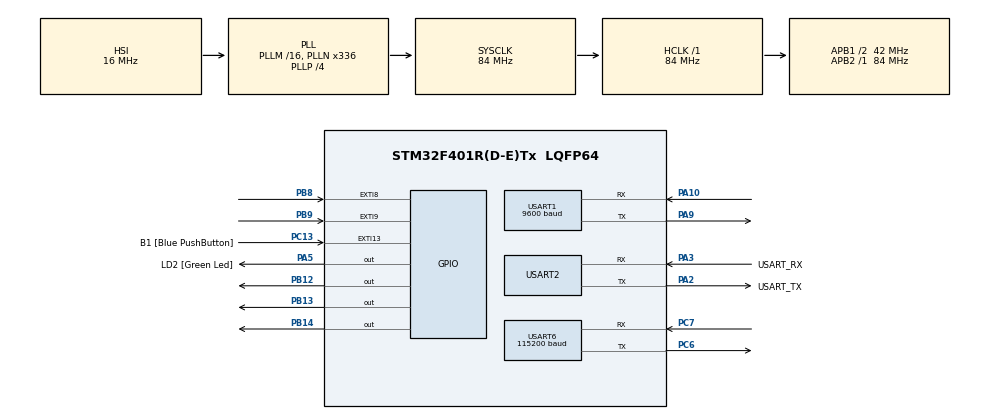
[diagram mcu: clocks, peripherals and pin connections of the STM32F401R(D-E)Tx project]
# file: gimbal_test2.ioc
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Dma.Request0=USART6_RX
Dma.Request1=USART6_TX
Dma.Request2=USART1_RX
Dma.Request3=USART1_TX
Dma.USART1_RX.2.Direction=DMA_PERIPH_TO_MEMORY
Dma.USART1_RX.2.FIFOMode=DMA_FIFOMODE_DISABLE
Dma.USART1_RX.2.Instance=DMA2_Stream2
Dma.USART1_RX.2.MemDataAlignment=DMA_MDATAALIGN_BYTE
Dma.USART1_RX.2.MemInc=DMA_MINC_ENABLE
Dma.USART1_RX.2.Mode=DMA_NORMAL
Dma.USART1_RX.2.PeriphDataAlignment=DMA_PDATAALIGN_BYTE
Dma.USART1_RX.2.PeriphInc=DMA_PINC_DISABLE
Dma.USART1_RX.2.Priority=DMA_PRIORITY_LOW
Dma.USART1_TX.3.Direction=DMA_MEMORY_TO_PERIPH
Dma.USART1_TX.3.FIFOMode=DMA_FIFOMODE_DISABLE
Dma.USART1_TX.3.Instance=DMA2_Stream7
Dma.USART1_TX.3.MemDataAlignment=DMA_MDATAALIGN_BYTE
Dma.USART1_TX.3.MemInc=DMA_MINC_ENABLE
Dma.USART1_TX.3.Mode=DMA_NORMAL
Dma.USART1_TX.3.PeriphDataAlignment=DMA_PDATAALIGN_BYTE
Dma.USART1_TX.3.PeriphInc=DMA_PINC_DISABLE
Dma.USART1_TX.3.Priority=DMA_PRIORITY_LOW
Dma.USART6_RX.0.Direction=DMA_PERIPH_TO_MEMORY
Dma.USART6_RX.0.FIFOMode=DMA_FIFOMODE_DISABLE
Dma.USART6_RX.0.Instance=DMA2_Stream1
Dma.USART6_RX.0.MemDataAlignment=DMA_MDATAALIGN_BYTE
Dma.USART6_RX.0.MemInc=DMA_MINC_ENABLE
Dma.USART6_RX.0.Mode=DMA_NORMAL
Dma.USART6_RX.0.PeriphDataAlignment=DMA_PDATAALIGN_BYTE
Dma.USART6_RX.0.PeriphInc=DMA_PINC_DISABLE
Dma.USART6_RX.0.Priority=DMA_PRIORITY_LOW
Dma.USART6_TX.1.Direction=DMA_MEMORY_TO_PERIPH
Dma.USART6_TX.1.FIFOMode=DMA_FIFOMODE_DISABLE
Dma.USART6_TX.1.Instance=DMA2_Stream6
Dma.USART6_TX.1.MemDataAlignment=DMA_MDATAALIGN_BYTE
Dma.USART6_TX.1.MemInc=DMA_MINC_ENABLE
Dma.USART6_TX.1.Mode=DMA_NORMAL
Dma.USART6_TX.1.PeriphDataAlignment=DMA_PDATAALIGN_BYTE
Dma.USART6_TX.1.PeriphInc=DMA_PINC_DISABLE
Dma.USART6_TX.1.Priority=DMA_PRIORITY_LOW
Mcu.Family=STM32F4
Mcu.Name=STM32F401R(D-E)Tx
Mcu.Package=LQFP64
NVIC.DMA2_Stream1_IRQn=true\:0\:0\:false\:false\:true\:false
NVIC.DMA2_Stream2_IRQn=true\:0\:0\:false\:false\:true\:false
NVIC.DMA2_Stream6_IRQn=true\:0\:0\:false\:false\:true\:false
NVIC.DMA2_Stream7_IRQn=true\:0\:0\:false\:false\:true\:false
NVIC.EXTI15_10_IRQn=true\:0\:0\:false\:false\:true\:true
NVIC.EXTI9_5_IRQn=true\:0\:0\:false\:false\:true\:true
NVIC.PriorityGroup=NVIC_PRIORITYGROUP_0
NVIC.TIM1_BRK_TIM9_IRQn=true\:0\:0\:false\:false\:true\:true
NVIC.USART1_IRQn=true\:0\:0\:false\:false\:true\:true
NVIC.USART6_IRQn=true\:0\:0\:false\:false\:true\:true
PA10.Mode=Asynchronous
PA10.Signal=USART1_RX
PA13.GPIO_Label=TMS
PA13.Mode=Serial_Wire
PA13.Signal=SYS_JTMS-SWDIO
PA14.GPIO_Label=TCK
PA14.Mode=Serial_Wire
PA14.Signal=SYS_JTCK-SWCLK
PA15.Signal=S_TIM2_CH1_ETR
PA2.GPIO_Label=USART_TX
PA2.GPIO_Mode=GPIO_MODE_AF_PP
PA2.GPIO_PuPd=GPIO_NOPULL
PA2.GPIO_Speed=GPIO_SPEED_FREQ_LOW
PA2.Mode=Asynchronous
PA2.Signal=USART2_TX
PA3.GPIO_Label=USART_RX
PA3.GPIO_Mode=GPIO_MODE_AF_PP
PA3.GPIO_PuPd=GPIO_NOPULL
PA3.GPIO_Speed=GPIO_SPEED_FREQ_LOW
PA3.Mode=Asynchronous
PA3.Signal=USART2_RX
PA5.GPIO_Label=LD2 [Green Led]
PA5.GPIO_Mode=GPIO_MODE_OUTPUT_PP
PA5.GPIO_PuPd=GPIO_NOPULL
PA5.GPIO_Speed=GPIO_SPEED_FREQ_LOW
PA5.Signal=GPIO_Output
PA9.Mode=Asynchronous
PA9.Signal=USART1_TX
PB12.Signal=GPIO_Output
PB13.Signal=GPIO_Output
PB14.Signal=GPIO_Output
PB3.GPIO_Label=SWO
PB3.Signal=SYS_JTDO-SWO
PB8.GPIO_ModeDefaultEXTI=GPIO_MODE_IT_FALLING
PB8.Signal=GPXTI8
PB9.GPIO_ModeDefaultEXTI=GPIO_MODE_IT_FALLING
PB9.Signal=GPXTI9
PC13-ANTI_TAMP.GPIO_Label=B1 [Blue PushButton]
PC13-ANTI_TAMP.GPIO_ModeDefaultEXTI=GPIO_MODE_IT_FALLING
PC13-ANTI_TAMP.GPIO_PuPd=GPIO_NOPULL
PC13-ANTI_TAMP.Signal=GPXTI13
PC14-OSC32_IN.Mode=LSE-External-Oscillator
PC14-OSC32_IN.Signal=RCC_OSC32_IN
PC15-OSC32_OUT.Mode=LSE-External-Oscillator
PC15-OSC32_OUT.Signal=RCC_OSC32_OUT
PC6.Mode=Asynchronous
PC6.Signal=USART6_TX
PC7.Mode=Asynchronous
PC7.Signal=USART6_RX
PH0\ -\ OSC_IN.Mode=HSE-External-Clock-Source
PH0\ -\ OSC_IN.Signal=RCC_OSC_IN
PH1\ -\ OSC_OUT.Mode=HSE-External-Clock-Source
PH1\ -\ OSC_OUT.Signal=RCC_OSC_OUT
ProjectManager.HeapSize=0x200
ProjectManager.StackSize=0x400
ProjectManager.TargetToolchain=EWARM
RCC.48MHZClocksFreq_Value=48000000
RCC.AHBFreq_Value=84000000
RCC.APB1CLKDivider=RCC_HCLK_DIV2
RCC.APB1Freq_Value=42000000
RCC.APB1TimFreq_Value=84000000
RCC.APB2Freq_Value=84000000
RCC.APB2TimFreq_Value=84000000
RCC.CortexFreq_Value=84000000
RCC.HCLKFreq_Value=84000000
RCC.HSE_VALUE=8000000
RCC.HSI_VALUE=16000000
RCC.PLLN=336
RCC.PLLP=RCC_PLLP_DIV4
RCC.PLLQ=7
RCC.SYSCLKFreq_VALUE=84000000
RCC.SYSCLKSource=RCC_SYSCLKSOURCE_PLLCLK
RCC.VCOOutputFreq_Value=336000000
SH.S_TIM2_CH1_ETR.0=TIM2_CH1
TIM9.Period=100-1
TIM9.Prescaler=839
USART1.BaudRate=9600
USART1.VirtualMode=VM_ASYNC
USART2.VirtualMode=VM_ASYNC
USART6.BaudRate=115200
USART6.VirtualMode=VM_ASYNC
VP_TIM9_VS_ClockSourceINT.Mode=Internal
board=NUCLEO-F401RE

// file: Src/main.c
/**
  ******************************************************************************
  * @file           : main.c
  * @brief          : Main program body
  ******************************************************************************
  ** This notice applies to any and all portions of this file
  * that are not between comment pairs USER CODE BEGIN and
  * USER CODE END. Other portions of this file, whether
  * inserted by the user or by software development tools
  * are owned by their respective copyright owners.
  *
  * COPYRIGHT(c) 2020 STMicroelectronics
  *
  * Redistribution and use in source and binary forms, with or without modification,
  * are permitted provided that the following conditions are met:
  *   1. Redistributions of source code must retain the above copyright notice,
  *      this list of conditions and the following disclaimer.
  *   2. Redistributions in binary form must reproduce the above copyright notice,
  *      this list of conditions and the following disclaimer in the documentation
  *      and/or other materials provided with the distribution.
  *   3. Neither the name of STMicroelectronics nor the names of its contributors
  *      may be used to endorse or promote products derived from this software
  *      without specific prior written permission.
  *
  * THIS SOFTWARE IS PROVIDED BY THE COPYRIGHT HOLDERS AND CONTRIBUTORS "AS IS"
  * AND ANY EXPRESS OR IMPLIED WARRANTIES, INCLUDING, BUT NOT LIMITED TO, THE
  * IMPLIED WARRANTIES OF MERCHANTABILITY AND FITNESS FOR A PARTICULAR PURPOSE ARE
  * DISCLAIMED. IN NO EVENT SHALL THE COPYRIGHT HOLDER OR CONTRIBUTORS BE LIABLE
  * FOR ANY DIRECT, INDIRECT, INCIDENTAL, SPECIAL, EXEMPLARY, OR CONSEQUENTIAL
  * DAMAGES (INCLUDING, BUT NOT LIMITED TO, PROCUREMENT OF SUBSTITUTE GOODS OR
  * SERVICES; LOSS OF USE, DATA, OR PROFITS; OR BUSINESS INTERRUPTION) HOWEVER
  * CAUSED AND ON ANY THEORY OF LIABILITY, WHETHER IN CONTRACT, STRICT LIABILITY,
  * OR TORT (INCLUDING NEGLIGENCE OR OTHERWISE) ARISING IN ANY WAY OUT OF THE USE
  * OF THIS SOFTWARE, EVEN IF ADVISED OF THE POSSIBILITY OF SUCH DAMAGE.
  *
  ******************************************************************************
  */
#include "main.h"
#include "stm32f4xx_hal.h"

/* USER CODE BEGIN Includes */
#include "math.h"
#include "string.h"
#include "stdlib.h"
#include "stdio.h"
#include "stdint.h"
#include <string.h>
#define PI 3.141592
#define RX_BUFFER_SIZE 25
/* USER CODE END Includes */

TIM_HandleTypeDef htim9;

UART_HandleTypeDef huart1;
UART_HandleTypeDef huart2;
UART_HandleTypeDef huart6;
DMA_HandleTypeDef hdma_usart1_rx;
DMA_HandleTypeDef hdma_usart1_tx;
DMA_HandleTypeDef hdma_usart6_rx;
DMA_HandleTypeDef hdma_usart6_tx;

/* USER CODE BEGIN PV */
/* Private variables ---------------------------------------------------------*/

int cnt;

int Pin_State;

double euler[3];
int ieuler[3];

int cnt2;
int com1, com2, com3, com4, fin;
uint8_t rx_buffer[RX_BUFFER_SIZE];
uint8_t tx_buffer[];
uint8_t tx_len;
double pitch, roll, yaw;
int ipitch, iroll, iyaw, icheck;
char A_roll[7], A_pitch[7], A_yaw[7], check[7];
char SOP[] = "100-0";
double R[3][3];
double alpha, beta, gamma;
double radian = PI/180;
int ialpha, ibeta, igamma;
/* USER CODE END PV */

void SystemClock_Config(void);
static void MX_GPIO_Init(void);
static void MX_DMA_Init(void);
static void MX_USART2_UART_Init(void);
static void MX_TIM9_Init(void);
static void MX_USART6_UART_Init(void);
static void MX_USART1_UART_Init(void);

/* USER CODE BEGIN PFP */
/* Private function prototypes -----------------------------------------------*/

void Angle()
{
  HAL_UART_Receive_DMA(&huart1, rx_buffer, RX_BUFFER_SIZE);
  if(rx_buffer[0] != '*')
  {
    for(int i = 0; i <= (RX_BUFFER_SIZE - 1); i++)
      rx_buffer[i] = 0;
  }
  for(int i = 0; i <= (RX_BUFFER_SIZE - 1); i++)
  {
    if(rx_buffer[i] == '*'){cnt2++;}
    if((rx_buffer[i] == ',')&&(com1==0)) com1 = i;
    if((rx_buffer[i] == ',')&&(com1!= i)&&(com2==0)) com2 = i;
    if((rx_buffer[i] == '\n')&&(com1!= i)&&(com2!= i)&&(com3==0)) com3 = i;
    //if(rx_buffer[i]=='\n'){cnt2++; fin = i;}
  }
  for(int i = 1; i < com1 ; i++)
    A_roll[i-1] = rx_buffer[i];
  roll = atof(A_roll);
  iroll = atoi(A_roll);
  for(int i = (com1+1); i < com2; i++)
    A_pitch[i - (com1 + 1)] = rx_buffer[i];
  pitch = atof(A_pitch);
  ipitch = atoi(A_pitch);
  for(int i = (com2+1); i < com3; i++)
    A_yaw[i - (com2 + 1)] = rx_buffer[i];
  yaw = atof(A_yaw);
  iyaw = atoi(A_yaw);
  cnt2 = 0; com1 = 0; com2 = 0; com3 = 0; fin = 0;

}

void EulerRotation(double angleX, double angleY, double angleZ)
{
  alpha = angleX*(cos(yaw*radian)*cos(pitch*radian))
    + angleY*(cos(yaw*radian)*sin(pitch*radian)*sin(roll*radian)-sin(yaw*radian)*cos(roll*radian))
      + angleZ*(cos(yaw*radian)*sin(pitch*radian)*cos(roll*radian)+sin(yaw*radian)*sin(roll*radian));

  beta = angleX*(sin(yaw*radian)*cos(pitch*radian))
    + angleY*(sin(yaw*radian)*sin(pitch*radian)*sin(roll*radian)+cos(yaw*radian)*cos(roll*radian))
      + angleZ*(sin(yaw*radian)*sin(pitch*radian)*cos(roll*radian)-cos(yaw*radian)*sin(roll*radian));

  gamma = angleX*(-sin(pitch*radian))
    + angleY*(cos(pitch*radian)*sin(roll*radian))
      + angleZ*(cos(pitch*radian)*cos(roll*radian));
  alpha = alpha - 0.1*alpha;
  beta = beta - 0.1*beta;
  gamma = gamma - 0.1*gamma;
  ialpha = (int)alpha;
  ibeta = (int)beta;
  igamma = (int)gamma;
}

void Quaternion(double angleX, double angleY, double angleZ)
{
  double q0 = cos(roll/2)*cos(pitch/2)*cos(yaw/2) + sin(roll/2)*sin(pitch/2)*sin(yaw/2);
  double q1 = sin(roll/2)*cos(pitch/2)*cos(yaw/2) - cos(roll/2)*sin(pitch/2)*sin(yaw/2);
  double q2 = cos(roll/2)*sin(pitch/2)*cos(yaw/2) + sin(roll/2)*cos(pitch/2)*sin(yaw/2);
  double q3 = cos(roll/2)*cos(pitch/2)*sin(yaw/2) + sin(roll/2)*sin(pitch/2)*cos(yaw/2);

  double Ra[3][3] = {{2*(pow(q0,2)+pow(q1,2)-0.5), 2*(q1*q3-q0*q2), 2*(q0*q2+q1*q3)},
  {2*(q1*q3+q0*q2),2*(pow(q0,2)+pow(q2,2)-0.5),2*(q0*q2-q1*q3)},
  {2*(q1*q3-q0*q2),2*(q0*q2+q1*q3),2*(pow(q0,2)+pow(q3,2)-0.5)}};

  alpha = angleX*Ra[0][0] + angleY*Ra[0][1] + angleZ*Ra[0][2];
  beta = angleX*Ra[1][0] + angleY*Ra[1][1] + angleZ*Ra[1][2];
  gamma = angleX*Ra[2][0] + angleY*Ra[2][1] + angleZ*Ra[2][2];

  ialpha = (int)alpha;
  ibeta = (int)beta;
  igamma = (int)gamma;
}

unsigned short update_crc(unsigned short crc_accum, unsigned char *data_blk_ptr, unsigned short data_blk_size)
{
  unsigned short i, j;
  unsigned short crc_table[256] = {
    0x0000, 0x8005, 0x800F, 0x000A, 0x801B, 0x001E, 0x0014, 0x8011,
    0x8033, 0x0036, 0x003C, 0x8039, 0x0028, 0x802D, 0x8027, 0x0022,
    0x8063, 0x0066, 0x006C, 0x8069, 0x0078, 0x807D, 0x8077, 0x0072,
    0x0050, 0x8055, 0x805F, 0x005A, 0x804B, 0x004E, 0x0044, 0x8041,
    0x80C3, 0x00C6, 0x00CC, 0x80C9, 0x00D8, 0x80DD, 0x80D7, 0x00D2,
    0x00F0, 0x80F5, 0x80FF, 0x00FA, 0x80EB, 0x00EE, 0x00E4, 0x80E1,
    0x00A0, 0x80A5, 0x80AF, 0x00AA, 0x80BB, 0x00BE, 0x00B4, 0x80B1,
    0x8093, 0x0096, 0x009C, 0x8099, 0x0088, 0x808D, 0x8087, 0x0082,
    0x8183, 0x0186, 0x018C, 0x8189, 0x0198, 0x819D, 0x8197, 0x0192,
    0x01B0, 0x81B5, 0x81BF, 0x01BA, 0x81AB, 0x01AE, 0x01A4, 0x81A1,
    0x01E0, 0x81E5, 0x81EF, 0x01EA, 0x81FB, 0x01FE, 0x01F4, 0x81F1,
    0x81D3, 0x01D6, 0x01DC, 0x81D9, 0x01C8, 0x81CD, 0x81C7, 0x01C2,
    0x0140, 0x8145, 0x814F, 0x014A, 0x815B, 0x015E, 0x0154, 0x8151,
    0x8173, 0x0176, 0x017C, 0x8179, 0x0168, 0x816D, 0x8167, 0x0162,
    0x8123, 0x0126, 0x012C, 0x8129, 0x0138, 0x813D, 0x8137, 0x0132,
    0x0110, 0x8115, 0x811F, 0x011A, 0x810B, 0x010E, 0x0104, 0x8101,
    0x8303, 0x0306, 0x030C, 0x8309, 0x0318, 0x831D, 0x8317, 0x0312,
    0x0330, 0x8335, 0x833F, 0x033A, 0x832B, 0x032E, 0x0324, 0x8321,
    0x0360, 0x8365, 0x836F, 0x036A, 0x837B, 0x037E, 0x0374, 0x8371,
    0x8353, 0x0356, 0x035C, 0x8359, 0x0348, 0x834D, 0x8347, 0x0342,
    0x03C0, 0x83C5, 0x83CF, 0x03CA, 0x83DB, 0x03DE, 0x03D4, 0x83D1,
    0x83F3, 0x03F6, 0x03FC, 0x83F9, 0x03E8, 0x83ED, 0x83E7, 0x03E2,
    0x83A3, 0x03A6, 0x03AC, 0x83A9, 0x03B8, 0x83BD, 0x83B7, 0x03B2,
    0x0390, 0x8395, 0x839F, 0x039A, 0x838B, 0x038E, 0x0384, 0x8381,
    0x0280, 0x8285, 0x828F, 0x028A, 0x829B, 0x029E, 0x0294, 0x8291,
    0x82B3, 0x02B6, 0x02BC, 0x82B9, 0x02A8, 0x82AD, 0x82A7, 0x02A2,
    0x82E3, 0x02E6, 0x02EC, 0x82E9, 0x02F8, 0x82FD, 0x82F7, 0x02F2,
    0x02D0, 0x82D5, 0x82DF, 0x02DA, 0x82CB, 0x02CE, 0x02C4, 0x82C1,
    0x8243, 0x0246, 0x024C, 0x8249, 0x0258, 0x825D, 0x8257, 0x0252,
    0x0270, 0x8275, 0x827F, 0x027A, 0x826B, 0x026E, 0x0264, 0x8261,
    0x0220, 0x8225, 0x822F, 0x022A, 0x823B, 0x023E, 0x0234, 0x8231,
    0x8213, 0x0216, 0x021C, 0x8219, 0x0208, 0x820D, 0x8207, 0x0202
  };

  for(j = 0; j < data_blk_size; j++)
  {
    i = ((unsigned short)(crc_accum >> 8) ^ data_blk_ptr[j]) & 0xFF;
    crc_accum = (crc_accum << 8) ^ crc_table[i];
  }

  return crc_accum;
}

void TorqueEnable(unsigned char ID , unsigned char OnOff)
{
  unsigned char Header1 = 0xff;
  unsigned char Header2 = 0xff;
  unsigned char Header3 = 0xfd;
  unsigned char Reserved = 0x00;

  //	unsigned char ID = 0x02;
  unsigned char PacketLengthL = 0x09;			//총 길이: 9 /(parameter 6개  + 3개(기타) )
  unsigned char PacketLengthH = 0x00;
  unsigned char Instruction = 0x03;			//Write mode

  unsigned char Parameter_1= 0x40 ;	 		//0x40 은 torque enable
  unsigned char Parameter_2= 0x00 ;			// Data를 쓰고자 하는 곳의 시작 Address(상위바이트)

  unsigned char Parameter3 = OnOff;		        //on 은 1 , off 는 0
  unsigned char Parameter4 = 0x00;
  unsigned char Parameter5 = 0x00;
  unsigned char Parameter6 = 0x00;

  //crc 를 구하기 위한 수식
  unsigned short Packet_Length = (PacketLengthH << 8) + PacketLengthL;
  unsigned short DataBlkSize = 5 + Packet_Length ;
  unsigned char CRC_L = 0;
  unsigned char CRC_H = 0;
  unsigned short CRC_A = 0;

  unsigned char TxPacket[] = { Header1, Header2, Header3, Reserved, ID, PacketLengthL, PacketLengthH, Instruction, Parameter_1,
  Parameter_2, Parameter3, Parameter4, Parameter5, Parameter6, CRC_L, CRC_H };

  CRC_A = update_crc(0, TxPacket , DataBlkSize);   // 12 = 5 + Packet Length(7)
  CRC_L = (CRC_A & 0x00FF);               //Little-endian
  CRC_H = (CRC_A>>8) & 0x00FF;
  tx_len = 0;
  tx_len = sizeof(TxPacket);
  TxPacket[tx_len-1] = CRC_H;
  TxPacket[tx_len-2] = CRC_L;

  HAL_UART_Transmit(&huart6, (uint8_t *)TxPacket, tx_len, HAL_MAX_DELAY);
}

void SyncWrite(unsigned int GoalPos1 , unsigned int GoalPos2 , unsigned int GoalPos3)
{
  unsigned char Header1 = 0xff;
  unsigned char Header2 = 0xff;
  unsigned char Header3 = 0xfd;
  unsigned char Reserved = 0x00;

  unsigned char ID = 0xFE;
  unsigned char PacketLengthL = 0x16;			//총 길이: 22 /(parameter 19개  + 3개(기타) )
  unsigned char PacketLengthH = 0x00;
  unsigned char Instruction = 0x83;			//Sync Write mode

  unsigned char Parameter_1 = 0x74;	 		//Data Address (0x74 : Goal Position)
  unsigned char Parameter_2 = 0x00;			//Address(상위바이트)

  unsigned char Parameter3 = 0x04;			//Data Length
  unsigned char Parameter4 = 0x00;

  unsigned char Parameter5 = 0x03;			//1st ID yaw
  unsigned char Parameter6 = (GoalPos1 & 0xff);
  unsigned char Parameter7 = ((GoalPos1>>8) & 0xff);
  unsigned char Parameter8 = ((GoalPos1>>16) & 0xff);
  unsigned char Parameter9 = ((GoalPos1>>24) & 0xff);

  unsigned char Parameter10 = 0x02;			//2nd ID pitch
  unsigned char Parameter11 = (GoalPos2 & 0xff);
  unsigned char Parameter12 = ((GoalPos2>>8) & 0xff);
  unsigned char Parameter13 = ((GoalPos2>>16) & 0xff);
  unsigned char Parameter14 = ((GoalPos2>>24) & 0xff);

  unsigned char Parameter15 = 0x01;			//3rd ID roll
  unsigned char Parameter16 = (GoalPos3 & 0xff);
  unsigned char Parameter17 = ((GoalPos3>>8) & 0xff);
  unsigned char Parameter18 = ((GoalPos3>>16) & 0xff);
  unsigned char Parameter19 = ((GoalPos3>>24) & 0xff);

  //crc 를 구하기 위한 수식
  unsigned short Packet_Length = (PacketLengthH << 8) + PacketLengthL;
  unsigned short DataBlkSize = 5 + Packet_Length;
  unsigned char CRC_L = 0;
  unsigned char CRC_H = 0;
  unsigned short CRC_A = 0;

  unsigned char TxPacket[] = { Header1, Header2, Header3, Reserved, ID, PacketLengthL, PacketLengthH, Instruction, Parameter_1,
  Parameter_2, Parameter3, Parameter4, Parameter5, Parameter6, Parameter7, Parameter8, Parameter9, Parameter10, Parameter11,
  Parameter12, Parameter13, Parameter14, Parameter15, Parameter16, Parameter17, Parameter18, Parameter19, CRC_L, CRC_H };

  CRC_A = update_crc(0, TxPacket, DataBlkSize);   // 12 = 5 + Packet Length(7)
  CRC_L = (CRC_A & 0x00FF);               //Little-endian
  CRC_H = (CRC_A >> 8) & 0x00FF;
  tx_len = 0;
  tx_len = sizeof(TxPacket);
  TxPacket[tx_len-1] = CRC_H;
  TxPacket[tx_len-2] = CRC_L;

  HAL_UART_Transmit(&huart6, (uint8_t *)TxPacket, tx_len, HAL_MAX_DELAY);
}

unsigned int AngleXL(signed int A)
{
  double B = 2048 - A*(1024/90);

  return (unsigned int)B;
}

void HAL_TIM_PeriodElapsedCallback(TIM_HandleTypeDef *htim)
{
  if(htim == &htim9)
  {
    cnt++;

    if(cnt == 40)
    {
      HAL_UART_Transmit(&huart1, "*", 1, HAL_MAX_DELAY);
      Angle();
      EulerRotation(roll, pitch, yaw);
      //Quaternion(iroll, ipitch, iyaw);
      SyncWrite(AngleXL(-(int)alpha),AngleXL((int)beta),AngleXL(-(int)gamma));
      cnt = 0;

    }
  }
}

/* USER CODE END PFP */

int main(void)
{

  /* MCU Configuration----------------------------------------------------------*/

  /* Reset of all peripherals, Initializes the Flash interface and the Systick. */
  HAL_Init();

  /* Configure the system clock */
  SystemClock_Config();

  /* Initialize all configured peripherals */
  MX_GPIO_Init();
  MX_DMA_Init();
  MX_USART2_UART_Init();
  MX_TIM9_Init();
  MX_USART6_UART_Init();
  MX_USART1_UART_Init();
  /* USER CODE BEGIN 2 */
  HAL_TIM_Base_Start_IT(&htim9);

  TorqueEnable(0x01, 0x01);
  HAL_Delay(5);
  TorqueEnable(0x02, 0x01);
  HAL_Delay(5);
  TorqueEnable(0x03, 0x01);
  HAL_Delay(5);
  /* USER CODE END 2 */

  /* Infinite loop */
  while (1)
  {

  }

}

void SystemClock_Config(void)
{

  RCC_OscInitTypeDef RCC_OscInitStruct;
  RCC_ClkInitTypeDef RCC_ClkInitStruct;

    /**Configure the main internal regulator output voltage
    */
  __HAL_RCC_PWR_CLK_ENABLE();

  __HAL_PWR_VOLTAGESCALING_CONFIG(PWR_REGULATOR_VOLTAGE_SCALE2);

    /**Initializes the CPU, AHB and APB busses clocks
    */
  RCC_OscInitStruct.OscillatorType = RCC_OSCILLATORTYPE_HSI;
  RCC_OscInitStruct.HSIState = RCC_HSI_ON;
  RCC_OscInitStruct.HSICalibrationValue = 16;
  RCC_OscInitStruct.PLL.PLLState = RCC_PLL_ON;
  RCC_OscInitStruct.PLL.PLLSource = RCC_PLLSOURCE_HSI;
  RCC_OscInitStruct.PLL.PLLM = 16;
  RCC_OscInitStruct.PLL.PLLN = 336;
  RCC_OscInitStruct.PLL.PLLP = RCC_PLLP_DIV4;
  RCC_OscInitStruct.PLL.PLLQ = 7;
  if (HAL_RCC_OscConfig(&RCC_OscInitStruct) != HAL_OK)
  {
    _Error_Handler(__FILE__, __LINE__);
  }

    /**Initializes the CPU, AHB and APB busses clocks
    */
  RCC_ClkInitStruct.ClockType = RCC_CLOCKTYPE_HCLK|RCC_CLOCKTYPE_SYSCLK
                              |RCC_CLOCKTYPE_PCLK1|RCC_CLOCKTYPE_PCLK2;
  RCC_ClkInitStruct.SYSCLKSource = RCC_SYSCLKSOURCE_PLLCLK;
  RCC_ClkInitStruct.AHBCLKDivider = RCC_SYSCLK_DIV1;
  RCC_ClkInitStruct.APB1CLKDivider = RCC_HCLK_DIV2;
  RCC_ClkInitStruct.APB2CLKDivider = RCC_HCLK_DIV1;

  if (HAL_RCC_ClockConfig(&RCC_ClkInitStruct, FLASH_LATENCY_2) != HAL_OK)
  {
    _Error_Handler(__FILE__, __LINE__);
  }

    /**Configure the Systick interrupt time
    */
  HAL_SYSTICK_Config(HAL_RCC_GetHCLKFreq()/1000);

    /**Configure the Systick
    */
  HAL_SYSTICK_CLKSourceConfig(SYSTICK_CLKSOURCE_HCLK);

  /* SysTick_IRQn interrupt configuration */
  HAL_NVIC_SetPriority(SysTick_IRQn, 0, 0);
}

/* TIM9 init function */
static void MX_TIM9_Init(void)
{

  TIM_ClockConfigTypeDef sClockSourceConfig;

  htim9.Instance = TIM9;
  htim9.Init.Prescaler = 839;
  htim9.Init.CounterMode = TIM_COUNTERMODE_UP;
  htim9.Init.Period = 100-1;
  htim9.Init.ClockDivision = TIM_CLOCKDIVISION_DIV1;
  if (HAL_TIM_Base_Init(&htim9) != HAL_OK)
  {
    _Error_Handler(__FILE__, __LINE__);
  }

  sClockSourceConfig.ClockSource = TIM_CLOCKSOURCE_INTERNAL;
  if (HAL_TIM_ConfigClockSource(&htim9, &sClockSourceConfig) != HAL_OK)
  {
    _Error_Handler(__FILE__, __LINE__);
  }

}

/* USART1 init function */
static void MX_USART1_UART_Init(void)
{

  huart1.Instance = USART1;
  huart1.Init.BaudRate = 9600;
  huart1.Init.WordLength = UART_WORDLENGTH_8B;
  huart1.Init.StopBits = UART_STOPBITS_1;
  huart1.Init.Parity = UART_PARITY_NONE;
  huart1.Init.Mode = UART_MODE_TX_RX;
  huart1.Init.HwFlowCtl = UART_HWCONTROL_NONE;
  huart1.Init.OverSampling = UART_OVERSAMPLING_16;
  if (HAL_UART_Init(&huart1) != HAL_OK)
  {
    _Error_Handler(__FILE__, __LINE__);
  }

}

/* USART2 init function */
static void MX_USART2_UART_Init(void)
{

  huart2.Instance = USART2;
  huart2.Init.BaudRate = 115200;
  huart2.Init.WordLength = UART_WORDLENGTH_8B;
  huart2.Init.StopBits = UART_STOPBITS_1;
  huart2.Init.Parity = UART_PARITY_NONE;
  huart2.Init.Mode = UART_MODE_TX_RX;
  huart2.Init.HwFlowCtl = UART_HWCONTROL_NONE;
  huart2.Init.OverSampling = UART_OVERSAMPLING_16;
  if (HAL_UART_Init(&huart2) != HAL_OK)
  {
    _Error_Handler(__FILE__, __LINE__);
  }

}

/* USART6 init function */
static void MX_USART6_UART_Init(void)
{

  huart6.Instance = USART6;
  huart6.Init.BaudRate = 115200;
  huart6.Init.WordLength = UART_WORDLENGTH_8B;
  huart6.Init.StopBits = UART_STOPBITS_1;
  huart6.Init.Parity = UART_PARITY_NONE;
  huart6.Init.Mode = UART_MODE_TX_RX;
  huart6.Init.HwFlowCtl = UART_HWCONTROL_NONE;
  huart6.Init.OverSampling = UART_OVERSAMPLING_16;
  if (HAL_UART_Init(&huart6) != HAL_OK)
  {
    _Error_Handler(__FILE__, __LINE__);
  }

}

static void MX_DMA_Init(void)
{
  /* DMA controller clock enable */
  __HAL_RCC_DMA2_CLK_ENABLE();

  /* DMA interrupt init */
  /* DMA2_Stream1_IRQn interrupt configuration */
  HAL_NVIC_SetPriority(DMA2_Stream1_IRQn, 0, 0);
  HAL_NVIC_EnableIRQ(DMA2_Stream1_IRQn);
  /* DMA2_Stream2_IRQn interrupt configuration */
  HAL_NVIC_SetPriority(DMA2_Stream2_IRQn, 0, 0);
  HAL_NVIC_EnableIRQ(DMA2_Stream2_IRQn);
  /* DMA2_Stream6_IRQn interrupt configuration */
  HAL_NVIC_SetPriority(DMA2_Stream6_IRQn, 0, 0);
  HAL_NVIC_EnableIRQ(DMA2_Stream6_IRQn);
  /* DMA2_Stream7_IRQn interrupt configuration */
  HAL_NVIC_SetPriority(DMA2_Stream7_IRQn, 0, 0);
  HAL_NVIC_EnableIRQ(DMA2_Stream7_IRQn);

}

/** Configure pins as
        * Analog
        * Input
        * Output
        * EVENT_OUT
        * EXTI
     PA15   ------> S_TIM2_CH1_ETR
*/
static void MX_GPIO_Init(void)
{

  GPIO_InitTypeDef GPIO_InitStruct;

  /* GPIO Ports Clock Enable */
  __HAL_RCC_GPIOC_CLK_ENABLE();
  __HAL_RCC_GPIOH_CLK_ENABLE();
  __HAL_RCC_GPIOA_CLK_ENABLE();
  __HAL_RCC_GPIOB_CLK_ENABLE();

  /*Configure GPIO pin Output Level */
  HAL_GPIO_WritePin(LD2_GPIO_Port, LD2_Pin, GPIO_PIN_RESET);

  /*Configure GPIO pin Output Level */
  HAL_GPIO_WritePin(GPIOB, GPIO_PIN_12|GPIO_PIN_13|GPIO_PIN_14, GPIO_PIN_RESET);

  /*Configure GPIO pin : B1_Pin */
  GPIO_InitStruct.Pin = B1_Pin;
  GPIO_InitStruct.Mode = GPIO_MODE_IT_FALLING;
  GPIO_InitStruct.Pull = GPIO_NOPULL;
  HAL_GPIO_Init(B1_GPIO_Port, &GPIO_InitStruct);

  /*Configure GPIO pin : LD2_Pin */
  GPIO_InitStruct.Pin = LD2_Pin;
  GPIO_InitStruct.Mode = GPIO_MODE_OUTPUT_PP;
  GPIO_InitStruct.Pull = GPIO_NOPULL;
  GPIO_InitStruct.Speed = GPIO_SPEED_FREQ_LOW;
  HAL_GPIO_Init(LD2_GPIO_Port, &GPIO_InitStruct);

  /*Configure GPIO pins : PB12 PB13 PB14 */
  GPIO_InitStruct.Pin = GPIO_PIN_12|GPIO_PIN_13|GPIO_PIN_14;
  GPIO_InitStruct.Mode = GPIO_MODE_OUTPUT_PP;
  GPIO_InitStruct.Pull = GPIO_NOPULL;
  GPIO_InitStruct.Speed = GPIO_SPEED_FREQ_LOW;
  HAL_GPIO_Init(GPIOB, &GPIO_InitStruct);

  /*Configure GPIO pin : PA15 */
  GPIO_InitStruct.Pin = GPIO_PIN_15;
  GPIO_InitStruct.Mode = GPIO_MODE_AF_PP;
  GPIO_InitStruct.Pull = GPIO_NOPULL;
  GPIO_InitStruct.Speed = GPIO_SPEED_FREQ_LOW;
  GPIO_InitStruct.Alternate = GPIO_AF1_TIM2;
  HAL_GPIO_Init(GPIOA, &GPIO_InitStruct);

  /*Configure GPIO pins : PB8 PB9 */
  GPIO_InitStruct.Pin = GPIO_PIN_8|GPIO_PIN_9;
  GPIO_InitStruct.Mode = GPIO_MODE_IT_FALLING;
  GPIO_InitStruct.Pull = GPIO_NOPULL;
  HAL_GPIO_Init(GPIOB, &GPIO_InitStruct);

  /* EXTI interrupt init*/
  HAL_NVIC_SetPriority(EXTI9_5_IRQn, 0, 0);
  HAL_NVIC_EnableIRQ(EXTI9_5_IRQn);

  HAL_NVIC_SetPriority(EXTI15_10_IRQn, 0, 0);
  HAL_NVIC_EnableIRQ(EXTI15_10_IRQn);

}

void _Error_Handler(char *file, int line)
{
  while(1)
  {
  }
}

/************************ (C) COPYRIGHT STMicroelectronics *****END OF FILE****/
